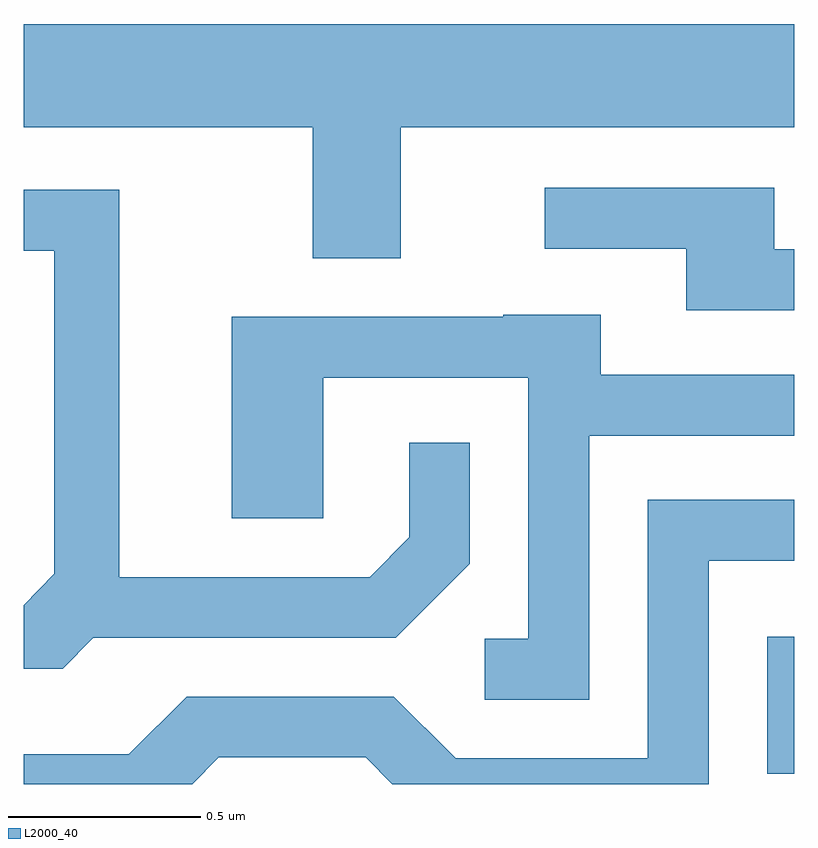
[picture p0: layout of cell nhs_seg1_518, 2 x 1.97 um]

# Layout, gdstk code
import gdstk
lib = gdstk.Library(unit=1e-6, precision=1e-09)
def R(c, l, rs):  # rectangles x0, y0, x1, y1
    for r in rs: c.add(gdstk.rectangle(r[:2], r[2:], *l))
def P(c, l, *ps):  # polygons
    for p in ps: c.add(gdstk.Polygon(p, *l))
L2000_40 = (2000, 40)

nhs_seg1_518 = lib.new_cell('nhs_seg1_518')
R(nhs_seg1_518, L2000_40, [(190.541,946.738,190.611,947.094)])
P(nhs_seg1_518, L2000_40, [(189.589,948.416),(190.611,948.416),(190.611,948.684),(188.611,948.684),(188.611,948.416),(189.361,948.416),(189.361,948.076),(189.589,948.076)],
  [(190.611,948.099),(190.559,948.099),(190.559,948.259),(189.963,948.259),(189.963,948.101),(190.331,948.101),(190.331,947.941),(190.611,947.941)],
  [(188.792,947.091),(189.577,947.091),(189.769,947.284),(189.769,947.598),(189.611,947.598),(189.611,947.352),(189.509,947.249),(188.859,947.249),(188.859,948.254),(188.611,948.254),(188.611,948.096),(188.691,948.096),(188.691,947.257),(188.611,947.176),(188.611,947.011),(188.712,947.011)],
  [(190.079,947.616),(190.611,947.616),(190.611,947.774),(190.109,947.774),(190.109,947.929),(189.855,947.929),(189.855,947.924),(189.151,947.924),(189.151,947.401),(189.389,947.401),(189.389,947.766),(189.921,947.766),(189.921,947.089),(189.808,947.089),(189.808,946.931),(190.079,946.931)],
  [(189.117,946.781),(189.499,946.781),(189.568,946.712),(190.389,946.712),(190.389,947.291),(190.611,947.291),(190.611,947.449),(190.231,947.449),(190.231,946.779),(189.732,946.779),(189.572,946.939),(189.034,946.939),(188.884,946.789),(188.611,946.789),(188.611,946.712),(189.048,946.712)])

lib.write_gds('nhs_seg1_518.gds')
